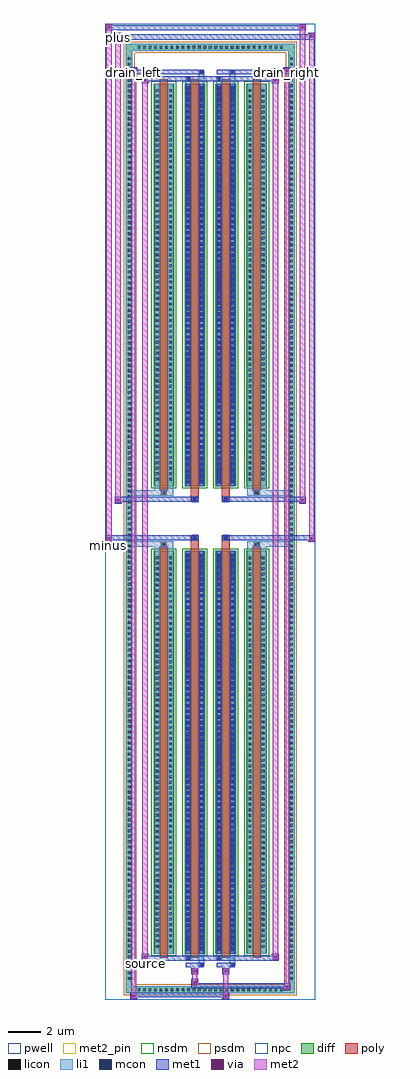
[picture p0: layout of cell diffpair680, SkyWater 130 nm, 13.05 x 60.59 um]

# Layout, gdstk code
import gdstk
lib = gdstk.Library(unit=1e-6, precision=5e-09)
def R(c, l, rs):  # rectangles x0, y0, x1, y1
    for r in rs: c.add(gdstk.rectangle(r[:2], r[2:], *l))
def A(c, l, x, y, w, h, nx, ny, dx, dy):  # array of equal rectangles
    R(c, l, [(x+i*dx, y+j*dy, x+i*dx+w, y+j*dy+h) for i in range(nx) for j in range(ny)])
def P(c, l, *ps):  # polygons
    for p in ps: c.add(gdstk.Polygon(p, *l))
pwell = (64, 44)
diff = (65, 20)
poly = (66, 20)
licon = (66, 44)
li1 = (67, 20)
mcon = (67, 44)
met1 = (68, 20)
via = (68, 44)
met2_pin = (69, 16)
met2 = (69, 20)
nsdm = (93, 44)
psdm = (94, 20)
npc = (95, 20)

diffpair680 = lib.new_cell('diffpair680')
R(diffpair680, pwell, [(-6.51,-29.86,6.51,30.73), (-3.83,-28.05,-0.01,-0.825), (0.01,-28.05,3.83,-0.825), (-3.83,0.825,-0.01,28.05), (0.01,0.825,3.83,28.05)])
A(diffpair680, diff, -4.625, -29.46, 0.41, 0.41, 27, 2, 0.34, 58.51)
A(diffpair680, diff, -5.24, -28.765, 0.41, 0.41, 1, 169, 0, 0.34)
A(diffpair680, diff, 4.83, -28.765, 0.41, 0.41, 1, 169, 0, 0.34)
A(diffpair680, diff, -3.52, -27.005, 1.28, 25, 4, 2, 1.92, 29.01)
R(diffpair680, diff, [(-4.625,-29.46,4.625,-29.05), (-5.24,-28.765,-4.83,28.765), (4.83,-28.765,5.24,28.765), (-4.625,29.05,4.625,29.46)])
P(diffpair680, diff, [(5.24,29.46),(-5.24,29.46),(-5.24,-29.05),(-4.83,-29.05),(-4.83,29.05),(4.83,29.05),(4.83,-29.05),(-4.83,-29.05),(-5.24,-29.05),(-5.24,-29.46),(5.24,-29.46)])
A(diffpair680, poly, -3.13, -27.255, 0.5, 25.5, 4, 2, 1.92, 29.01)
R(diffpair680, poly, [(-3.045,-1.755,-2.715,-1.425), (-3.045,-1.755,-2.715,-1.425), (-1.21,-1.755,-0.71,-1.355), (0.71,-1.755,1.21,-1.355), (2.715,-1.755,3.045,-1.425), (2.715,-1.755,3.045,-1.425), (-1.21,-1.355,-0.71,-1.025), (-1.125,-1.355,-0.795,-1.025), (0.71,-1.355,1.21,-1.025), (0.795,-1.355,1.125,-1.025), (-1.21,1.025,-0.71,1.355), (-1.125,1.025,-0.795,1.355), (0.71,1.025,1.21,1.355), (0.795,1.025,1.125,1.355), (-1.21,1.355,-0.71,1.755), (0.71,1.355,1.21,1.755), (-3.045,1.425,-2.715,1.755), (-3.045,1.425,-2.715,1.755), (2.715,1.425,3.045,1.755), (2.715,1.425,3.045,1.755)])
A(diffpair680, licon, -4.505, -29.34, 0.17, 0.17, 27, 2, 0.34, 58.51)
A(diffpair680, licon, -5.12, -28.645, 0.17, 0.17, 1, 169, 0, 0.34)
A(diffpair680, licon, 4.95, -28.645, 0.17, 0.17, 1, 169, 0, 0.34)
A(diffpair680, licon, -3.38, -26.66, 0.17, 0.17, 1, 72, 0, 0.34)
A(diffpair680, licon, -2.55, -26.66, 0.17, 0.17, 1, 72, 0, 0.34)
A(diffpair680, licon, -1.46, -26.66, 0.17, 0.17, 1, 72, 0, 0.34)
A(diffpair680, licon, -0.63, -26.66, 0.17, 0.17, 1, 72, 0, 0.34)
A(diffpair680, licon, 0.46, -26.66, 0.17, 0.17, 1, 72, 0, 0.34)
A(diffpair680, licon, 1.29, -26.66, 0.17, 0.17, 1, 72, 0, 0.34)
A(diffpair680, licon, 2.38, -26.66, 0.17, 0.17, 1, 72, 0, 0.34)
A(diffpair680, licon, 3.21, -26.66, 0.17, 0.17, 1, 72, 0, 0.34)
A(diffpair680, licon, -3.38, 2.35, 0.17, 0.17, 1, 72, 0, 0.34)
A(diffpair680, licon, -2.55, 2.35, 0.17, 0.17, 1, 72, 0, 0.34)
A(diffpair680, licon, -1.46, 2.35, 0.17, 0.17, 1, 72, 0, 0.34)
A(diffpair680, licon, -0.63, 2.35, 0.17, 0.17, 1, 72, 0, 0.34)
A(diffpair680, licon, 0.46, 2.35, 0.17, 0.17, 1, 72, 0, 0.34)
A(diffpair680, licon, 1.29, 2.35, 0.17, 0.17, 1, 72, 0, 0.34)
A(diffpair680, licon, 2.38, 2.35, 0.17, 0.17, 1, 72, 0, 0.34)
A(diffpair680, licon, 3.21, 2.35, 0.17, 0.17, 1, 72, 0, 0.34)
R(diffpair680, licon, [(-2.965,-1.675,-2.795,-1.505), (2.795,-1.675,2.965,-1.505), (-1.045,-1.275,-0.875,-1.105), (0.875,-1.275,1.045,-1.105), (-1.045,1.105,-0.875,1.275), (0.875,1.105,1.045,1.275), (-2.965,1.505,-2.795,1.675), (2.795,1.505,2.965,1.675)])
A(diffpair680, li1, -4.585, -29.42, 0.33, 0.33, 27, 2, 0.34, 58.51)
A(diffpair680, li1, -5.2, -28.725, 0.33, 0.33, 1, 169, 0, 0.34)
A(diffpair680, li1, 4.87, -28.725, 0.33, 0.33, 1, 169, 0, 0.34)
A(diffpair680, li1, -1.46, -26.83, 0.17, 0.17, 1, 69, 0, 0.36)
A(diffpair680, li1, -0.63, -26.83, 0.17, 0.17, 1, 69, 0, 0.36)
A(diffpair680, li1, 0.46, -26.83, 0.17, 0.17, 1, 69, 0, 0.36)
A(diffpair680, li1, 1.29, -26.83, 0.17, 0.17, 1, 69, 0, 0.36)
A(diffpair680, li1, -3.46, -26.74, 0.33, 0.33, 1, 72, 0, 0.34)
A(diffpair680, li1, -2.63, -26.74, 0.33, 0.33, 1, 72, 0, 0.34)
A(diffpair680, li1, -1.54, -26.74, 0.33, 0.33, 1, 72, 0, 0.34)
A(diffpair680, li1, -0.71, -26.74, 0.33, 0.33, 1, 72, 0, 0.34)
A(diffpair680, li1, 0.38, -26.74, 0.33, 0.33, 1, 72, 0, 0.34)
A(diffpair680, li1, 1.21, -26.74, 0.33, 0.33, 1, 72, 0, 0.34)
A(diffpair680, li1, 2.3, -26.74, 0.33, 0.33, 1, 72, 0, 0.34)
A(diffpair680, li1, 3.13, -26.74, 0.33, 0.33, 1, 72, 0, 0.34)
A(diffpair680, li1, -1.46, 2.18, 0.17, 0.17, 1, 69, 0, 0.36)
A(diffpair680, li1, -0.63, 2.18, 0.17, 0.17, 1, 69, 0, 0.36)
A(diffpair680, li1, 0.46, 2.18, 0.17, 0.17, 1, 69, 0, 0.36)
A(diffpair680, li1, 1.29, 2.18, 0.17, 0.17, 1, 69, 0, 0.36)
A(diffpair680, li1, -3.46, 2.27, 0.33, 0.33, 1, 72, 0, 0.34)
A(diffpair680, li1, -2.63, 2.27, 0.33, 0.33, 1, 72, 0, 0.34)
A(diffpair680, li1, -1.54, 2.27, 0.33, 0.33, 1, 72, 0, 0.34)
A(diffpair680, li1, -0.71, 2.27, 0.33, 0.33, 1, 72, 0, 0.34)
A(diffpair680, li1, 0.38, 2.27, 0.33, 0.33, 1, 72, 0, 0.34)
A(diffpair680, li1, 1.21, 2.27, 0.33, 0.33, 1, 72, 0, 0.34)
A(diffpair680, li1, 2.3, 2.27, 0.33, 0.33, 1, 72, 0, 0.34)
A(diffpair680, li1, 3.13, 2.27, 0.33, 0.33, 1, 72, 0, 0.34)
R(diffpair680, li1, [(-5.24,-29.46,-4.83,-29.05), (-5.24,-29.46,-4.83,-29.05), (-4.83,-29.46,4.83,-29.05), (4.83,-29.46,5.24,-29.05), (4.83,-29.46,5.24,-29.05), (-5.24,-29.05,-4.83,29.05), (4.83,-29.05,5.24,29.05), (-0.71,-27.81,-0.38,-27.005), (-0.63,-27.81,-0.46,-27.64), (1.21,-27.81,1.54,-27.005), (1.29,-27.81,1.46,-27.64), (-1.54,-27.38,-1.21,-27.005), (-1.46,-27.38,-1.29,-27.21), (0.38,-27.38,0.71,-27.005), (0.46,-27.38,0.63,-27.21), (-3.46,-27.005,-3.13,-2.005), (-2.63,-27.005,-2.3,-2.005), (-1.54,-27.005,-1.21,-2.005), (-0.71,-27.005,-0.38,-2.005), (0.38,-27.005,0.71,-2.005), (1.21,-27.005,1.54,-2.005), (2.3,-27.005,2.63,-2.005), (3.13,-27.005,3.46,-2.005), (-1.46,-26.83,-1.29,-2.18), (-0.63,-26.83,-0.46,-2.18), (0.46,-26.83,0.63,-2.18), (1.29,-26.83,1.46,-2.18), (-3.46,-2.005,-3.13,-1.425), (-2.63,-2.005,-2.3,-1.425), (2.3,-2.005,2.63,-1.425), (3.13,-2.005,3.46,-1.425), (-5.24,-1.755,-3.045,-1.425), (-3.46,-1.755,-3.045,-1.425), (-3.045,-1.755,-2.715,-1.425), (-2.715,-1.755,-2.3,-1.425), (2.3,-1.755,2.715,-1.425), (2.715,-1.755,3.045,-1.425), (2.715,-1.755,5.24,-1.425), (3.045,-1.755,3.46,-1.425), (-1.125,-1.355,-0.795,-1.025), (0.795,-1.355,1.125,-1.025), (-1.125,1.025,-0.795,1.355), (0.795,1.025,1.125,1.355), (-5.24,1.425,-3.045,1.755), (-3.46,1.425,-3.045,1.755), (-3.46,1.425,-3.13,2.005), (-3.045,1.425,-2.715,1.755), (-2.715,1.425,-2.3,1.755), (-2.63,1.425,-2.3,2.005), (2.3,1.425,2.715,1.755), (2.3,1.425,2.63,2.005), (2.715,1.425,3.045,1.755), (2.715,1.425,5.24,1.755), (3.045,1.425,3.46,1.755), (3.13,1.425,3.46,2.005), (-3.46,2.005,-3.13,27.005), (-2.63,2.005,-2.3,27.005), (-1.54,2.005,-1.21,27.005), (-0.71,2.005,-0.38,27.005), (0.38,2.005,0.71,27.005), (1.21,2.005,1.54,27.005), (2.3,2.005,2.63,27.005), (3.13,2.005,3.46,27.005), (-1.46,2.18,-1.29,26.83), (-0.63,2.18,-0.46,26.83), (0.46,2.18,0.63,26.83), (1.29,2.18,1.46,26.83), (-1.54,27.005,-1.21,27.38), (-0.71,27.005,-0.38,27.81), (0.38,27.005,0.71,27.38), (1.21,27.005,1.54,27.81), (-1.46,27.21,-1.29,27.38), (0.46,27.21,0.63,27.38), (-0.63,27.64,-0.46,27.81), (1.29,27.64,1.46,27.81), (-5.24,29.05,-4.83,29.46), (-5.24,29.05,-4.83,29.46), (-4.83,29.05,4.83,29.46), (4.83,29.05,5.24,29.46), (4.83,29.05,5.24,29.46)])
A(diffpair680, mcon, -1.46, -26.83, 0.17, 0.17, 1, 69, 0, 0.36)
A(diffpair680, mcon, -0.63, -26.83, 0.17, 0.17, 1, 69, 0, 0.36)
A(diffpair680, mcon, 0.46, -26.83, 0.17, 0.17, 1, 69, 0, 0.36)
A(diffpair680, mcon, 1.29, -26.83, 0.17, 0.17, 1, 69, 0, 0.36)
A(diffpair680, mcon, -1.46, 2.18, 0.17, 0.17, 1, 69, 0, 0.36)
A(diffpair680, mcon, -0.63, 2.18, 0.17, 0.17, 1, 69, 0, 0.36)
A(diffpair680, mcon, 0.46, 2.18, 0.17, 0.17, 1, 69, 0, 0.36)
A(diffpair680, mcon, 1.29, 2.18, 0.17, 0.17, 1, 69, 0, 0.36)
R(diffpair680, mcon, [(-0.63,-27.81,-0.46,-27.64), (1.29,-27.81,1.46,-27.64), (-1.46,-27.38,-1.29,-27.21), (0.46,-27.38,0.63,-27.21), (-1.045,-1.275,-0.875,-1.105), (0.875,-1.275,1.045,-1.105), (-1.045,1.105,-0.875,1.275), (0.875,1.105,1.045,1.275), (-1.46,27.21,-1.29,27.38), (0.46,27.21,0.63,27.38), (-0.63,27.64,-0.46,27.81), (1.29,27.64,1.46,27.81)])
A(diffpair680, met1, -1.52, -26.89, 0.29, 0.29, 1, 69, 0, 0.36)
A(diffpair680, met1, -0.69, -26.89, 0.29, 0.29, 1, 69, 0, 0.36)
A(diffpair680, met1, 0.4, -26.89, 0.29, 0.29, 1, 69, 0, 0.36)
A(diffpair680, met1, 1.23, -26.89, 0.29, 0.29, 1, 69, 0, 0.36)
A(diffpair680, met1, -1.52, 2.12, 0.29, 0.29, 1, 69, 0, 0.36)
A(diffpair680, met1, -0.69, 2.12, 0.29, 0.29, 1, 69, 0, 0.36)
A(diffpair680, met1, 0.4, 2.12, 0.29, 0.29, 1, 69, 0, 0.36)
A(diffpair680, met1, 1.23, 2.12, 0.29, 0.29, 1, 69, 0, 0.36)
R(diffpair680, met1, [(-4.97,-29.86,-4.54,-29.43), (0.745,-29.86,1.175,-29.43), (-4.97,-29.72,1.175,-29.43), (4.54,-29.29,4.97,-28.86), (-1.175,-29.15,4.97,-28.86), (-1.175,-29.01,-0.745,-28.58), (-1.175,-28.3,-0.745,-27.87), (0.745,-28.3,1.175,-27.87), (-1.52,-27.87,-0.4,-27.58), (-0.69,-27.87,-0.4,-27.58), (0.4,-27.87,1.52,-27.58), (1.23,-27.87,1.52,-27.58), (-4.26,-27.44,-3.83,-27.01), (-4.26,-27.44,-1.52,-27.15), (-1.52,-27.44,-1.23,-27.15), (-1.52,-27.44,-0.4,-27.15), (-0.4,-27.44,0.4,-27.15), (0.4,-27.44,0.69,-27.15), (0.4,-27.44,1.52,-27.15), (1.52,-27.44,4.26,-27.15), (3.83,-27.44,4.26,-27.01), (-1.52,-27.005,-1.23,-2.005), (-0.69,-27.005,-0.4,-2.005), (0.4,-27.005,0.69,-2.005), (1.23,-27.005,1.52,-2.005), (-6.51,-1.455,-6.08,-1.025), (6.08,-1.455,6.51,-1.025), (-6.51,-1.355,-0.71,-1.025), (-1.21,-1.355,-0.71,-1.025), (0.71,-1.355,1.21,-1.025), (0.71,-1.355,6.51,-1.025), (-1.105,-1.335,-0.815,-1.045), (0.815,-1.335,1.105,-1.045), (-5.94,0.925,-5.51,1.355), (5.51,0.925,5.94,1.355), (-5.94,1.025,-1.21,1.355), (-1.21,1.025,-0.71,1.355), (0.71,1.025,1.21,1.355), (1.21,1.025,5.94,1.355), (-1.105,1.045,-0.815,1.335), (0.815,1.045,1.105,1.335), (-1.52,2.005,-1.23,27.005), (-0.69,2.005,-0.4,27.005), (0.4,2.005,0.69,27.005), (1.23,2.005,1.52,27.005), (-4.26,27.01,-3.83,27.44), (3.83,27.01,4.26,27.44), (-4.26,27.15,-1.52,27.44), (-1.52,27.15,-1.23,27.44), (-1.52,27.15,-0.4,27.44), (-0.4,27.15,0.4,27.44), (0.4,27.15,0.69,27.44), (0.4,27.15,1.52,27.44), (1.52,27.15,4.26,27.44), (-4.97,27.58,-4.54,28.01), (-4.97,27.58,-1.52,27.87), (-1.52,27.58,-0.4,27.87), (-0.69,27.58,-0.4,27.87), (0.4,27.58,1.52,27.87), (1.23,27.58,1.52,27.87), (1.52,27.58,4.97,27.87), (4.54,27.58,4.97,28.01), (-5.94,29.73,-5.51,30.16), (-5.94,29.73,-3.83,30.06), (-3.83,29.73,3.83,30.06), (3.83,29.73,6.51,30.06), (6.08,29.73,6.51,30.16), (-6.51,30.3,-6.08,30.73), (-6.51,30.3,-3.83,30.63), (-3.83,30.3,3.83,30.63), (3.83,30.3,5.94,30.63), (5.51,30.3,5.94,30.73)])
R(diffpair680, via, [(-4.83,-29.72,-4.68,-29.57), (0.885,-29.72,1.035,-29.57), (4.68,-29.15,4.83,-29), (-1.035,-28.87,-0.885,-28.72), (-1.035,-28.16,-0.885,-28.01), (0.885,-28.16,1.035,-28.01), (-4.12,-27.3,-3.97,-27.15), (3.97,-27.3,4.12,-27.15), (-6.37,-1.315,-6.22,-1.165), (6.22,-1.315,6.37,-1.165), (-5.8,1.065,-5.65,1.215), (5.65,1.065,5.8,1.215), (-4.12,27.15,-3.97,27.3), (3.97,27.15,4.12,27.3), (-4.83,27.72,-4.68,27.87), (4.68,27.72,4.83,27.87), (-5.8,29.87,-5.65,30.02), (6.22,29.87,6.37,30.02), (-6.37,30.44,-6.22,30.59), (5.65,30.44,5.8,30.59)])
R(diffpair680, met2_pin, [(-4.295,-27.89,-3.795,-27.39), (-6.545,-1.905,-6.045,-1.405), (-5.005,27.46,-4.505,27.96), (4.505,27.46,5.005,27.96), (-5.975,29.61,-5.475,30.11)])
R(diffpair680, met2, [(-4.92,-29.81,-4.59,-29.48), (-4.92,-29.81,-4.59,27.96), (0.795,-29.81,1.125,-29.48), (0.795,-29.48,1.125,-28.25), (4.59,-29.24,4.92,-28.91), (4.59,-29.24,4.92,27.96), (-1.125,-28.96,-0.795,-28.63), (-1.125,-28.63,-0.795,-28.25), (-1.125,-28.25,-0.795,-27.92), (0.795,-28.25,1.125,-27.92), (-4.21,-27.39,-3.88,-27.06), (-4.21,-27.39,-3.88,27.39), (3.88,-27.39,4.21,-27.06), (3.88,-27.39,4.21,27.39), (-6.46,-1.405,-6.13,-1.075), (-6.46,-1.405,-6.13,30.68), (6.13,-1.405,6.46,-1.075), (6.13,-1.405,6.46,30.11), (-5.89,0.975,-5.56,1.305), (-5.89,0.975,-5.56,30.11), (5.56,0.975,5.89,1.305), (5.56,0.975,5.89,30.68), (-4.21,27.06,-3.88,27.39), (3.88,27.06,4.21,27.39), (-4.92,27.63,-4.59,27.96), (4.59,27.63,4.92,27.96), (-5.89,29.78,-5.56,30.11), (6.13,29.78,6.46,30.11), (-6.46,30.35,-6.13,30.68), (5.56,30.35,5.89,30.68)])
P(diffpair680, met2, [(6.46,-1.405),(6.46,-1.405),(6.46,-1.075),(6.46,-1.075)],
  [(6.46,29.78),(6.46,29.78),(6.46,30.11),(6.46,30.11)],
  [(-6.13,-1.405),(-6.13,-1.405),(-6.13,-1.075),(-6.13,-1.075)],
  [(-6.13,30.35),(-6.13,30.35),(-6.13,30.68),(-6.13,30.68)],
  [(5.89,0.975),(5.89,0.975),(5.89,1.305),(5.89,1.305)],
  [(5.89,30.35),(5.89,30.35),(5.89,30.68),(5.89,30.68)],
  [(-5.56,0.975),(-5.56,0.975),(-5.56,1.305),(-5.56,1.305)],
  [(-5.56,29.78),(-5.56,29.78),(-5.56,30.11),(-5.56,30.11)],
  [(-4.59,-29.81),(-4.59,-29.81),(-4.59,-29.48),(-4.59,-29.48)],
  [(-4.59,27.63),(-4.59,27.63),(-4.59,27.96),(-4.59,27.96)],
  [(4.92,-29.24),(4.92,-29.24),(4.92,-28.91),(4.92,-28.91)],
  [(4.92,27.63),(4.92,27.63),(4.92,27.96),(4.92,27.96)],
  [(-3.88,-27.39),(-3.88,-27.39),(-3.88,-27.06),(-3.88,-27.06)],
  [(-3.88,27.06),(-3.88,27.06),(-3.88,27.39),(-3.88,27.39)],
  [(4.21,-27.39),(4.21,-27.39),(4.21,-27.06),(4.21,-27.06)],
  [(4.21,27.06),(4.21,27.06),(4.21,27.39),(4.21,27.39)])
A(diffpair680, nsdm, -3.65, -27.135, 1.54, 25.26, 4, 2, 1.92, 29.01)
P(diffpair680, psdm, [(5.37,29.59),(-5.37,29.59),(-5.37,-28.92),(-4.7,-28.92),(-4.7,28.92),(4.7,28.92),(4.7,-28.92),(-4.7,-28.92),(-5.37,-28.92),(-5.37,-29.59),(5.37,-29.59)])
R(diffpair680, npc, [(-3.065,-1.775,-2.695,-1.405), (2.695,-1.775,3.065,-1.405), (-1.145,-1.375,-0.775,-1.005), (0.775,-1.375,1.145,-1.005), (-1.145,1.005,-0.775,1.375), (0.775,1.005,1.145,1.375), (-3.065,1.405,-2.695,1.775), (2.695,1.405,3.065,1.775)])
diffpair680.add(gdstk.Label('minus', (-6.295,-1.655), layer=69, texttype=5))
diffpair680.add(gdstk.Label('drain_right', (4.755,27.71), layer=69, texttype=5))
diffpair680.add(gdstk.Label('drain_left', (-4.755,27.71), layer=69, texttype=5))
diffpair680.add(gdstk.Label('source', (-4.045,-27.64), layer=69, texttype=5))
diffpair680.add(gdstk.Label('plus', (-5.725,29.86), layer=69, texttype=5))

lib.write_gds('diffpair680.gds')
